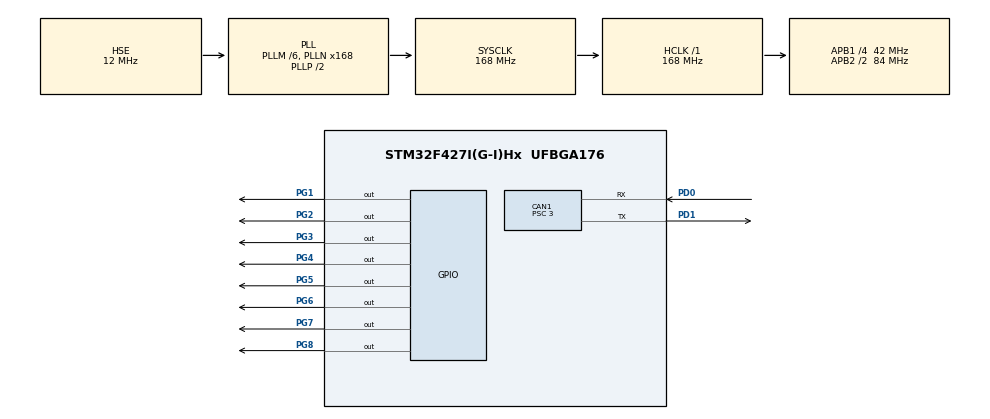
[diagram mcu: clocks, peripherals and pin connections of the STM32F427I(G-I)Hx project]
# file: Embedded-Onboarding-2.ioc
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CAN1.ABOM=ENABLE
CAN1.AWUM=ENABLE
CAN1.BS1=CAN_BS1_10TQ
CAN1.BS2=CAN_BS2_3TQ
CAN1.CalculateBaudRate=1000000
CAN1.CalculateTimeBit=1000
CAN1.CalculateTimeQuantum=71.42857142857143
CAN1.NART=ENABLE
CAN1.Prescaler=3
CAN1.SJW=CAN_SJW_1TQ
CAN1.TTCM=DISABLE
CAN1.TXFP=ENABLE
FREERTOS.Queues01=position_command_queue,10,uint8_t,0,Static,position_command_queueBuffer,position_command_queueControlBlock;motor_feedback_queue,1,MotorFeedback_t,0,Static,motor_feedback_queueBuffer,motor_feedback_queueControlBlock
FREERTOS.Tasks01=defaultTask,0,128,StartDefaultTask,Default,NULL,Dynamic,NULL,NULL;motorControlTas,1,128,motor_control_task,As external,NULL,Static,motorControlTasBuffer,motorControlTasControlBlock;blinkyTask,1,128,blinky_task,As external,NULL,Static,blinkyTaskBuffer,blinkyTaskControlBlock
FREERTOS.configENABLE_FPU=1
Mcu.Family=STM32F4
Mcu.Name=STM32F427I(G-I)Hx
Mcu.Package=UFBGA176
NVIC.CAN1_RX0_IRQn=true\:5\:0\:false\:false\:true\:true\:true\:true\:true
NVIC.PriorityGroup=NVIC_PRIORITYGROUP_4
PD0.GPIO_PuPd=GPIO_NOPULL
PD0.Mode=CAN_Activate
PD0.Signal=CAN1_RX
PD1.Mode=CAN_Activate
PD1.Signal=CAN1_TX
PG1.Signal=GPIO_Output
PG2.Signal=GPIO_Output
PG3.Signal=GPIO_Output
PG4.Signal=GPIO_Output
PG5.Signal=GPIO_Output
PG6.Signal=GPIO_Output
PG7.Signal=GPIO_Output
PG8.Signal=GPIO_Output
PH0/OSC_IN.Mode=HSE-External-Oscillator
PH0/OSC_IN.Signal=RCC_OSC_IN
PH1/OSC_OUT.Mode=HSE-External-Oscillator
PH1/OSC_OUT.Signal=RCC_OSC_OUT
ProjectManager.HeapSize=0x200
ProjectManager.StackSize=0x400
ProjectManager.TargetToolchain=CMake
RCC.48MHZClocksFreq_Value=84000000
RCC.AHBFreq_Value=168000000
RCC.APB1CLKDivider=RCC_HCLK_DIV4
RCC.APB1Freq_Value=42000000
RCC.APB1TimFreq_Value=84000000
RCC.APB2CLKDivider=RCC_HCLK_DIV2
RCC.APB2Freq_Value=84000000
RCC.APB2TimFreq_Value=168000000
RCC.CortexFreq_Value=168000000
RCC.EnbaleCSS=true
RCC.HCLKFreq_Value=168000000
RCC.HSE_VALUE=12000000
RCC.HSI_VALUE=16000000
RCC.LSE_VALUE=32768
RCC.PLLM=6
RCC.PLLN=168
RCC.PLLSourceVirtual=RCC_PLLSOURCE_HSE
RCC.SYSCLKFreq_VALUE=168000000
RCC.SYSCLKSource=RCC_SYSCLKSOURCE_PLLCLK
RCC.VCOOutputFreq_Value=336000000
VP_FREERTOS_VS_CMSIS_V1.Mode=CMSIS_V1
board=custom

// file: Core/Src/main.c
/* USER CODE BEGIN Header */
/**
  ******************************************************************************
  * @file           : main.c
  * @brief          : Main program body
  ******************************************************************************
  * @attention
  *
  * Copyright (c) 2025 STMicroelectronics.
  * All rights reserved.
  *
  * This software is licensed under terms that can be found in the LICENSE file
  * in the root directory of this software component.
  * If no LICENSE file comes with this software, it is provided AS-IS.
  *
  ******************************************************************************
  */
/* USER CODE END Header */
#include "main.h"
#include "cmsis_os.h"

CAN_HandleTypeDef hcan1;

osThreadId defaultTaskHandle;
osThreadId motorControlTasHandle;
uint32_t motorControlTasBuffer[ 128 ];
osStaticThreadDef_t motorControlTasControlBlock;
osThreadId blinkyTaskHandle;
uint32_t blinkyTaskBuffer[ 128 ];
osStaticThreadDef_t blinkyTaskControlBlock;
osMessageQId position_command_queueHandle;
uint8_t position_command_queueBuffer[ 10 * sizeof( uint8_t ) ];
osStaticMessageQDef_t position_command_queueControlBlock;
osMessageQId motor_feedback_queueHandle;
uint8_t motor_feedback_queueBuffer[ 1 * sizeof( MotorFeedback_t ) ];
osStaticMessageQDef_t motor_feedback_queueControlBlock;

void SystemClock_Config(void);
static void MX_GPIO_Init(void);
static void MX_CAN1_Init(void);
void StartDefaultTask(void const * argument);
extern void motor_control_task(void const * argument);
extern void blinky_task(void const * argument);

int main(void)
{

  /* MCU Configuration--------------------------------------------------------*/

  /* Reset of all peripherals, Initializes the Flash interface and the Systick. */
  HAL_Init();

  /* Configure the system clock */
  SystemClock_Config();

  /* Initialize all configured peripherals */
  MX_GPIO_Init();
  MX_CAN1_Init();
  /* USER CODE BEGIN 2 */
  CAN_FilterTypeDef CAN_FilterConfigStructure;
  CAN_FilterConfigStructure.FilterIdHigh = 0x0000;
  CAN_FilterConfigStructure.FilterIdLow = 0x0000;
  CAN_FilterConfigStructure.FilterMaskIdHigh = 0x0000;
  CAN_FilterConfigStructure.FilterMaskIdLow = 0x0000;
  CAN_FilterConfigStructure.FilterFIFOAssignment = CAN_FILTER_FIFO0;
  CAN_FilterConfigStructure.FilterMode = CAN_FILTERMODE_IDMASK;
  CAN_FilterConfigStructure.FilterScale = CAN_FILTERSCALE_32BIT;
  CAN_FilterConfigStructure.FilterActivation = ENABLE;
  CAN_FilterConfigStructure.FilterBank = 0;

  HAL_CAN_ConfigFilter(&hcan1, &CAN_FilterConfigStructure);

  HAL_CAN_ActivateNotification(&hcan1, CAN_IT_RX_FIFO0_MSG_PENDING);

  HAL_CAN_Start(&hcan1);
  /* USER CODE END 2 */

  /* Create the queue(s) */
  /* definition and creation of position_command_queue */
  osMessageQStaticDef(position_command_queue, 10, uint8_t, position_command_queueBuffer, &position_command_queueControlBlock);
  position_command_queueHandle = osMessageCreate(osMessageQ(position_command_queue), NULL);

  /* definition and creation of motor_feedback_queue */
  osMessageQStaticDef(motor_feedback_queue, 1, MotorFeedback_t, motor_feedback_queueBuffer, &motor_feedback_queueControlBlock);
  motor_feedback_queueHandle = osMessageCreate(osMessageQ(motor_feedback_queue), NULL);

  /* Create the thread(s) */
  /* definition and creation of defaultTask */
  osThreadDef(defaultTask, StartDefaultTask, osPriorityNormal, 0, 128);
  defaultTaskHandle = osThreadCreate(osThread(defaultTask), NULL);

  /* definition and creation of motorControlTas */
  osThreadStaticDef(motorControlTas, motor_control_task, osPriorityAboveNormal, 0, 128, motorControlTasBuffer, &motorControlTasControlBlock);
  motorControlTasHandle = osThreadCreate(osThread(motorControlTas), NULL);

  /* definition and creation of blinkyTask */
  osThreadStaticDef(blinkyTask, blinky_task, osPriorityAboveNormal, 0, 128, blinkyTaskBuffer, &blinkyTaskControlBlock);
  blinkyTaskHandle = osThreadCreate(osThread(blinkyTask), NULL);

  /* Start scheduler */
  osKernelStart();

  /* We should never get here as control is now taken by the scheduler */

  /* Infinite loop */
  while (1)
  {

  }
}

void SystemClock_Config(void)
{
  RCC_OscInitTypeDef RCC_OscInitStruct = {0};
  RCC_ClkInitTypeDef RCC_ClkInitStruct = {0};

  /** Configure the main internal regulator output voltage
  */
  __HAL_RCC_PWR_CLK_ENABLE();
  __HAL_PWR_VOLTAGESCALING_CONFIG(PWR_REGULATOR_VOLTAGE_SCALE1);

  /** Initializes the RCC Oscillators according to the specified parameters
  * in the RCC_OscInitTypeDef structure.
  */
  RCC_OscInitStruct.OscillatorType = RCC_OSCILLATORTYPE_HSE;
  RCC_OscInitStruct.HSEState = RCC_HSE_ON;
  RCC_OscInitStruct.PLL.PLLState = RCC_PLL_ON;
  RCC_OscInitStruct.PLL.PLLSource = RCC_PLLSOURCE_HSE;
  RCC_OscInitStruct.PLL.PLLM = 6;
  RCC_OscInitStruct.PLL.PLLN = 168;
  RCC_OscInitStruct.PLL.PLLP = RCC_PLLP_DIV2;
  RCC_OscInitStruct.PLL.PLLQ = 4;
  if (HAL_RCC_OscConfig(&RCC_OscInitStruct) != HAL_OK)
  {
    Error_Handler();
  }

  /** Initializes the CPU, AHB and APB buses clocks
  */
  RCC_ClkInitStruct.ClockType = RCC_CLOCKTYPE_HCLK|RCC_CLOCKTYPE_SYSCLK
                              |RCC_CLOCKTYPE_PCLK1|RCC_CLOCKTYPE_PCLK2;
  RCC_ClkInitStruct.SYSCLKSource = RCC_SYSCLKSOURCE_PLLCLK;
  RCC_ClkInitStruct.AHBCLKDivider = RCC_SYSCLK_DIV1;
  RCC_ClkInitStruct.APB1CLKDivider = RCC_HCLK_DIV4;
  RCC_ClkInitStruct.APB2CLKDivider = RCC_HCLK_DIV2;

  if (HAL_RCC_ClockConfig(&RCC_ClkInitStruct, FLASH_LATENCY_5) != HAL_OK)
  {
    Error_Handler();
  }

  /** Enables the Clock Security System
  */
  HAL_RCC_EnableCSS();
}

static void MX_CAN1_Init(void)
{

  hcan1.Instance = CAN1;
  hcan1.Init.Prescaler = 3;
  hcan1.Init.Mode = CAN_MODE_NORMAL;
  hcan1.Init.SyncJumpWidth = CAN_SJW_1TQ;
  hcan1.Init.TimeSeg1 = CAN_BS1_10TQ;
  hcan1.Init.TimeSeg2 = CAN_BS2_3TQ;
  hcan1.Init.TimeTriggeredMode = DISABLE;
  hcan1.Init.AutoBusOff = ENABLE;
  hcan1.Init.AutoWakeUp = ENABLE;
  hcan1.Init.AutoRetransmission = ENABLE;
  hcan1.Init.ReceiveFifoLocked = DISABLE;
  hcan1.Init.TransmitFifoPriority = ENABLE;
  if (HAL_CAN_Init(&hcan1) != HAL_OK)
  {
    Error_Handler();
  }

}

static void MX_GPIO_Init(void)
{
  GPIO_InitTypeDef GPIO_InitStruct = {0};

  /* GPIO Ports Clock Enable */
  __HAL_RCC_GPIOD_CLK_ENABLE();
  __HAL_RCC_GPIOH_CLK_ENABLE();
  __HAL_RCC_GPIOG_CLK_ENABLE();

  /*Configure GPIO pin Output Level */
  HAL_GPIO_WritePin(GPIOG, GPIO_PIN_8|GPIO_PIN_7|GPIO_PIN_6|GPIO_PIN_5
                          |GPIO_PIN_4|GPIO_PIN_3|GPIO_PIN_2|GPIO_PIN_1, GPIO_PIN_RESET);

  /*Configure GPIO pins : PG8 PG7 PG6 PG5
                           PG4 PG3 PG2 PG1 */
  GPIO_InitStruct.Pin = GPIO_PIN_8|GPIO_PIN_7|GPIO_PIN_6|GPIO_PIN_5
                          |GPIO_PIN_4|GPIO_PIN_3|GPIO_PIN_2|GPIO_PIN_1;
  GPIO_InitStruct.Mode = GPIO_MODE_OUTPUT_PP;
  GPIO_InitStruct.Pull = GPIO_NOPULL;
  GPIO_InitStruct.Speed = GPIO_SPEED_FREQ_LOW;
  HAL_GPIO_Init(GPIOG, &GPIO_InitStruct);

}

/* USER CODE BEGIN 4 */
void HAL_CAN_RxFifo0MsgPendingCallback(CAN_HandleTypeDef * hcan) {
  if (hcan == &hcan1) {
    CAN_RxHeaderTypeDef header;
    uint8_t data[8];
    HAL_CAN_GetRxMessage(hcan, CAN_RX_FIFO0, &header, data);

    MotorFeedback_t motor_feedback;
    motor_feedback.encoder_angle =
      (((int16_t) data[0]) << 8) | ((int16_t) data[1]);
    motor_feedback.angular_velocity =
      (((int16_t) data[2]) << 8) | ((int16_t) data[3]);
    motor_feedback.torque_current =
      (((int16_t) data[4]) << 8) | ((int16_t) data[5]);
    motor_feedback.temperature = (int16_t) (data[6]);
    xQueueSendFromISR(motor_feedback_queueHandle, &motor_feedback, 0);
  }
}
/* USER CODE END 4 */

void StartDefaultTask(void const * argument)
{
  for(;;)
  {
    osDelay(1);
  }
}

void Error_Handler(void)
{
  __disable_irq();
  while (1)
  {
  }
}
